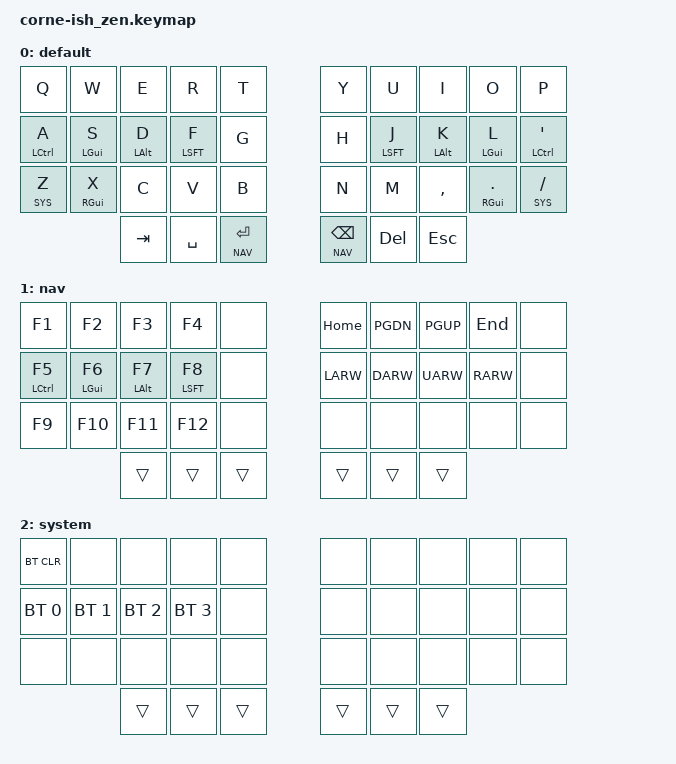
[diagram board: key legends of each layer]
#include <behaviors.dtsi>
#include <dt-bindings/zmk/keys.h>
#include <dt-bindings/zmk/bt.h>

#define DEF 0
#define NAV 1
#define SYS 2

&mt {
    flavor = "tap-preferred";
    tapping-term-ms = <125>;
    quick-tap-ms = <100>;
};

&lt {
    flavor = "tap-preferred";
    tapping-term-ms = <125>;
    quick-tap-ms = <100>;
};

&sk {
    quick-release;
};

/ {
  chosen {
    zmk,matrix_transform = &five_column_transform;
  };
};

#define COMBO(NAME, KEYPOS) \
    combo_##NAME { \
        timeout-ms = <100>; \
        key-positions = <KEYPOS>; \
        bindings = <&kp NAME>; \
    };

/ {
    combos {
        compatible = "zmk,combos";
        COMBO(NUM_1, 0 10)
        COMBO(NUM_2, 1 11)
        COMBO(NUM_3, 2 12)
        COMBO(NUM_4, 3 13)
        COMBO(NUM_5, 4 14)
        COMBO(NUM_6, 5 15)
        COMBO(NUM_7, 6 16)
        COMBO(NUM_8, 7 17)
        COMBO(NUM_9, 8 18)
        COMBO(NUM_0, 9 19)

        COMBO(ESC, 10 20)
        COMBO(GRAVE, 11 21)
        COMBO(MINUS, 12 22)
        COMBO(EQUAL, 13 23)
        COMBO(LEFT_BRACKET, 16 26)
        COMBO(RIGHT_BRACKET, 17 27)
        COMBO(BACKSLASH, 18 28)
        COMBO(SCLN, 19 29)
    };

    keymap {
        compatible = "zmk,keymap";

        def_layer {
            label = "default";

            bindings = <
    &kp Q       &kp W      &kp E      &kp R      &kp T &kp Y     &kp U      &kp I      &kp O      &kp P   
    &mt LCTL A  &mt LGUI S &mt LALT D &mt LSFT F &kp G &kp H     &mt LSFT J &mt LALT K &mt LGUI L &mt LCTL QUOT
    &lt SYS Z   &mt RGUI X      &kp C      &kp V   &kp B &kp N     &kp M   &kp CMMA   &mt RGUI DOT    &lt SYS SLASH
                	&kp TAB &kp SPC &lt NAV RET &lt NAV BKSP &kp DEL  &kp ESC
            >;
        };

        nav_layer {
            label = "nav";
            bindings = <
    &kp F1 &kp F2 &kp F3 &kp F4 &none &kp HOME &kp PGDN &kp PGUP &kp END &none
    &mt LCTL F5 &mt LGUI F6 &mt LALT F7 &mt LSFT F8 &none &kp LARW &kp DARW &kp UARW &kp RARW &none
    &kp F9 &kp F10 &kp F11 &kp F12 &none &none &none &none &none &none
                &trans &trans &trans &trans &trans &trans
            >;
        };

        sys_layer {
            label = "system";
            bindings = <
    &bt BT_CLR &none &none &none &none &none &none &none &none &none 
    &bt BT_SEL 0 &bt BT_SEL 1 &bt BT_SEL 2 &bt BT_SEL 3 &none &none &none &none &none &none 
    &none &none &none &none &none &none &none &none &none &none 
                &trans &trans &trans &trans &trans &trans
            >;
        };
    };

};
